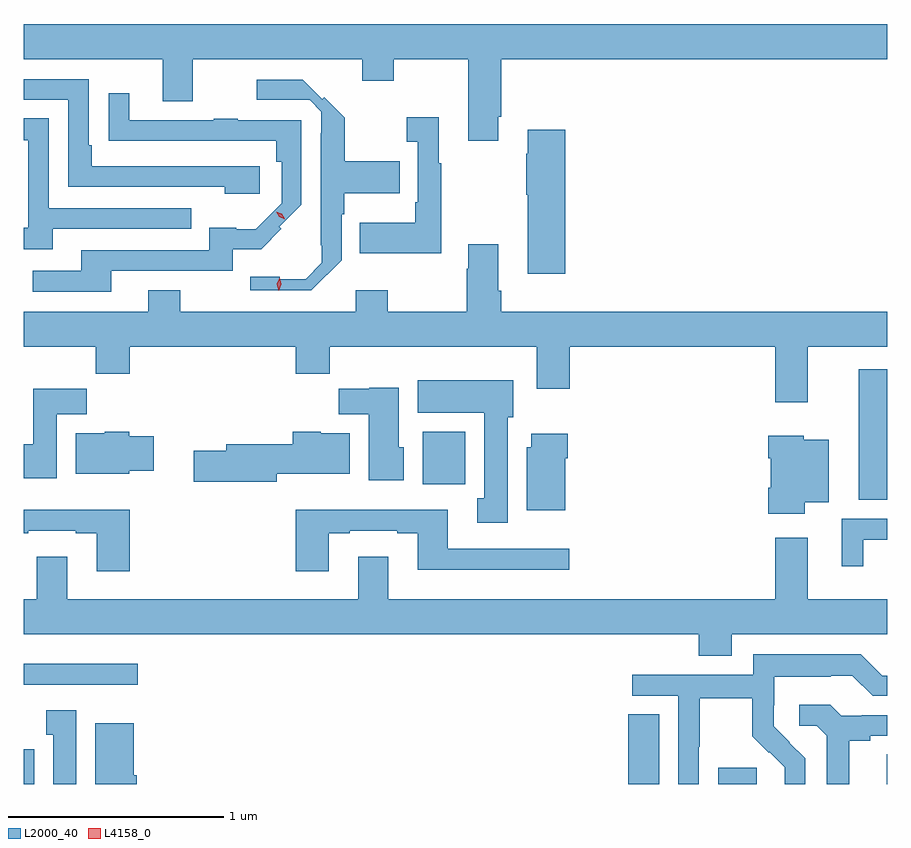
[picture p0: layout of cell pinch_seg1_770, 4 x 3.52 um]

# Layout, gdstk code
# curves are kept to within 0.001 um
import gdstk
lib = gdstk.Library(unit=1e-6, precision=1e-09)
def R(c, l, rs):  # rectangles x0, y0, x1, y1
    for r in rs: c.add(gdstk.rectangle(r[:2], r[2:], *l))
def P(c, l, *ps):  # polygons
    for p in ps: c.add(gdstk.Polygon(p, *l))
L2000_40 = (2000, 40)
L4158_0 = (4158, 0)

pinch_seg1_770 = lib.new_cell('pinch_seg1_770')
R(pinch_seg1_770, L2000_40, [(612.322,551.039,612.37,551.2), (615.122,551.039,615.265,551.363), (615.539,551.039,615.718,551.115), (616.319,551.039,616.322,551.177), (612.322,551.499,612.85,551.596), (616.19,552.356,616.322,552.961), (614.171,552.428,614.368,552.67)])
P(pinch_seg1_770, L2000_40, [(614.521,554.131),(614.534,554.131),(614.534,554.396),(616.322,554.396),(616.322,554.56),(612.322,554.56),(612.322,554.396),(612.965,554.396),(612.965,554.202),(613.105,554.202),(613.105,554.396),(613.889,554.396),(613.889,554.297),(614.037,554.297),(614.037,554.396),(614.381,554.396),(614.381,554.019),(614.521,554.019)],
  [(613.414,553.902),(612.637,553.902),(612.637,553.999),(612.624,553.999),(612.624,554.304),(612.322,554.304),(612.322,554.208),(612.528,554.208),(612.528,553.806),(613.253,553.806),(613.253,553.773),(613.414,553.773)],
  [(613.794,553.466),(613.794,553.679),(613.807,553.679),(613.807,553.775),(614.063,553.775),(614.063,553.923),(613.809,553.923),(613.809,554.125),(613.714,554.221),(613.704,554.211),(613.614,554.301),(613.401,554.301),(613.401,554.208),(613.647,554.208),(613.701,554.154),(613.701,554.054),(613.698,554.054),(613.698,553.534),(613.703,553.534),(613.703,553.453),(613.628,553.378),(613.507,553.378),(613.507,553.39),(613.371,553.39),(613.371,553.326),(613.654,553.326)],
  [(612.727,553.416),(613.291,553.416),(613.291,553.517),(613.421,553.517),(613.515,553.611),(613.506,553.62),(613.608,553.722),(613.608,554.115),(613.313,554.115),(613.313,554.12),(613.201,554.12),(613.201,554.115),(612.811,554.115),(612.811,554.239),(612.715,554.239),(612.715,554.02),(613.492,554.019),(613.492,553.922),(613.518,553.922),(613.518,553.73),(613.396,553.608),(613.307,553.608),(613.307,553.615),(613.182,553.615),(613.182,553.512),(612.587,553.512),(612.587,553.416),(612.363,553.416),(612.363,553.32),(612.727,553.32)],
  [(614.257,553.915),(614.245,553.915),(614.245,554.128),(614.097,554.128),(614.097,554.015),(614.148,554.015),(614.148,553.735),(614.136,553.735),(614.136,553.639),(613.879,553.639),(613.879,553.499),(614.257,553.499)],
  [(612.457,553.611),(613.097,553.611),(613.097,553.707),(612.438,553.707),(612.438,554.123),(612.322,554.123),(612.322,554.022),(612.342,554.022),(612.342,553.617),(612.322,553.617),(612.322,553.517),(612.457,553.517)],
  [(614.83,554.071),(614.657,554.071),(614.657,553.958),(614.65,553.958),(614.65,553.769),(614.657,553.769),(614.657,553.404),(614.83,553.404)],
  [(615.955,553.064),(616.322,553.064),(616.322,553.228),(614.534,553.228),(614.534,553.324),(614.521,553.324),(614.521,553.54),(614.381,553.54),(614.381,553.427),(614.374,553.427),(614.374,553.228),(614.007,553.228),(614.007,553.327),(613.859,553.327),(613.859,553.228),(613.047,553.228),(613.047,553.327),(612.899,553.327),(612.899,553.228),(612.322,553.228),(612.322,553.064),(612.655,553.064),(612.655,552.94),(612.812,552.94),(612.812,553.064),(613.583,553.064),(613.583,552.94),(613.739,552.94),(613.739,553.064),(614.699,553.064),(614.699,552.87),(614.852,552.87),(614.852,553.064),(615.803,553.064),(615.803,552.807),(615.955,552.807)],
  [(614.563,552.738),(614.59,552.738),(614.59,552.91),(614.147,552.91),(614.147,552.758),(614.456,552.758),(614.456,552.362),(614.423,552.362),(614.423,552.249),(614.563,552.249)],
  [(614.083,552.6),(614.059,552.6),(614.059,552.874),(613.923,552.874),(613.923,552.871),(613.78,552.871),(613.78,552.752),(613.919,552.752),(613.919,552.446),(614.083,552.446)],
  [(612.475,552.752),(612.614,552.752),(612.614,552.871),(612.365,552.871),(612.365,552.612),(612.322,552.612),(612.322,552.456),(612.475,552.456)],
  [(612.81,552.491),(612.925,552.491),(612.925,552.649),(612.81,552.649),(612.81,552.67),(612.696,552.67),(612.696,552.664),(612.563,552.664),(612.563,552.476),(612.81,552.476)],
  [(613.494,552.476),(613.831,552.476),(613.831,552.664),(613.698,552.664),(613.698,552.67),(613.568,552.67),(613.568,552.612),(613.259,552.612),(613.259,552.582),(613.11,552.582),(613.11,552.44),(613.494,552.44)],
  [(614.83,552.548),(614.843,552.548),(614.843,552.661),(614.672,552.661),(614.672,552.6),(614.651,552.6),(614.651,552.308),(614.83,552.308)],
  [(615.94,552.344),(616.051,552.344),(616.051,552.634),(615.936,552.634),(615.936,552.652),(615.77,552.652),(615.77,552.548),(615.782,552.548),(615.782,552.412),(615.77,552.412),(615.77,552.29),(615.94,552.29)],
  [(613.735,552.201),(613.831,552.201),(613.831,552.213),(614.051,552.213),(614.051,552.201),(614.147,552.201),(614.147,552.032),(614.848,552.032),(614.848,552.129),(614.287,552.129),(614.287,552.31),(613.583,552.31),(613.583,552.024),(613.735,552.024)],
  [(612.812,552.31),(612.322,552.31),(612.322,552.201),(612.343,552.201),(612.343,552.213),(612.563,552.213),(612.563,552.201),(612.659,552.201),(612.659,552.024),(612.812,552.024)],
  [(616.21,552.171),(616.322,552.171),(616.322,552.267),(616.112,552.267),(616.112,552.048),(616.21,552.048)],
  [(615.601,551.732),(616.322,551.732),(616.322,551.896),(615.955,551.896),(615.955,552.181),(615.803,552.181),(615.803,551.896),(614.011,551.896),(614.011,552.091),(613.871,552.091),(613.871,551.896),(612.523,551.896),(612.523,552.091),(612.383,552.091),(612.383,551.896),(612.322,551.896),(612.322,551.732),(615.449,551.732),(615.449,551.633),(615.601,551.633)],
  [(615.45,551.212),(615.453,551.212),(615.453,551.436),(615.697,551.436),(615.697,551.261),(615.774,551.184),(615.777,551.187),(615.848,551.117),(615.848,551.039),(615.942,551.039),(615.942,551.158),(615.796,551.306),(615.796,551.403),(615.798,551.403),(615.798,551.537),(616.061,551.537),(616.061,551.541),(616.161,551.541),(616.254,551.448),(616.322,551.448),(616.322,551.541),(616.299,551.541),(616.199,551.641),(615.702,551.641),(615.702,551.544),(615.141,551.544),(615.141,551.448),(615.354,551.448),(615.354,551.039),(615.45,551.039)],
  [(616.147,551.24),(616.243,551.24),(616.243,551.262),(616.322,551.262),(616.322,551.358),(616.204,551.358),(616.204,551.355),(616.11,551.355),(616.058,551.407),(615.915,551.407),(615.915,551.31),(615.996,551.31),(616.043,551.263),(616.043,551.039),(616.147,551.039)],
  [(612.565,551.38),(612.425,551.38),(612.425,551.267),(612.458,551.267),(612.458,551.039),(612.565,551.039)],
  [(612.845,551.08),(612.832,551.08),(612.832,551.32),(612.653,551.32),(612.653,551.039),(612.845,551.039)])
P(pinch_seg1_770, L4158_0, [(613.503,553.325),(613.503,553.325),(613.495,553.356),(613.508,553.384),(613.508,553.384),(613.508,553.384),(613.515,553.354),(613.503,553.325)],
  [(613.53,553.656),(613.505,553.666),(613.492,553.69),(613.492,553.69),(613.492,553.69),(613.518,553.681),(613.531,553.657),(613.531,553.656)])

lib.write_gds('pinch_seg1_770.gds')
